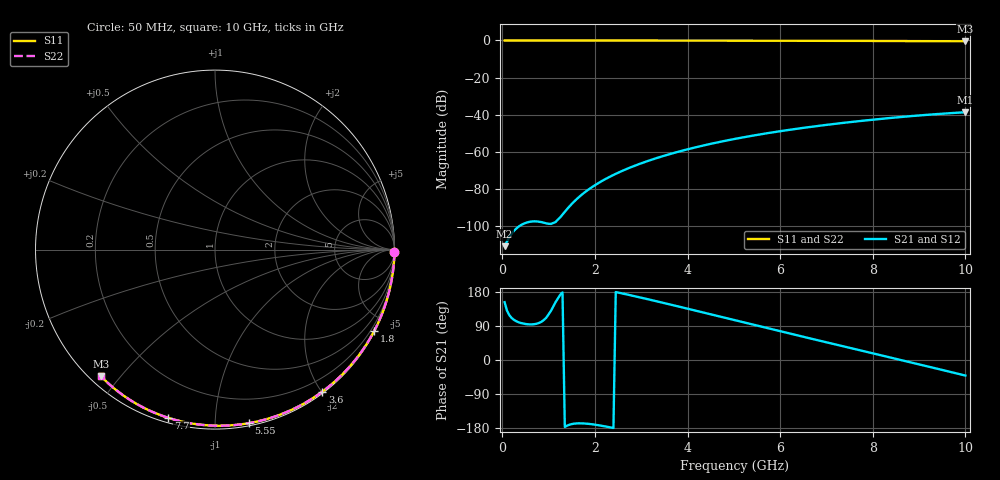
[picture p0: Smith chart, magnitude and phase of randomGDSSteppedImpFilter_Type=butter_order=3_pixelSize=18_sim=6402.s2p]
! freq	dB(S11)	phase(S11)	dB(S12)	phase(S12)
!  dB(S21)	phase(S21)	dB(S22)	phase(S22)
!S-par simulation data
#  GHz  S  DB  R 50
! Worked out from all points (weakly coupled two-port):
!   200 points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, 50 MHz to 10 GHz, reference 50 ohm
!   highest |S21| = -38.75 dB at 10 GHz (marker M1); lowest = -111.1 dB at 50 MHz (marker M2)
!   lowest |S11| = -0.4 dB at 10 GHz (marker M3), VSWR 38.77, Z = 1.55 - j22.3 ohm
!   |S11| at or under -10 dB: nowhere
!   |S22| runs from -0.4 to 0.0 dB; largest |S21 - S12| = 0
!   S11 on the Smith chart (normalised r, x): 50 MHz: open; 1.8 GHz: 0.04, -4.16; 3.6 GHz: 0.02, -2.01; 5.55 GHz: 0.02, -1.21; 7.7 GHz: 0.02, -0.76; 10 GHz: 0.03, -0.45
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0.05  -0.00 -0.8  -111.05 152.5  -111.05 152.5  -0.00 -0.8
0.45  -0.01 -6.9  -99.07 96.2  -99.07 96.2  -0.01 -6.9
0.9  -0.02 -13.6  -98.42 105.9  -98.42 105.9  -0.02 -13.6
1.75  -0.03 -26.3  -82.57 -167.4  -82.57 -167.4  -0.03 -26.3
1.8  -0.03 -27.0  -81.60 -167.8  -81.60 -167.8  -0.03 -27.0
1.9  -0.04 -28.5  -79.80 -169.0  -79.80 -169.0  -0.04 -28.5
2.05  -0.04 -30.7  -77.36 -171.6  -77.36 -171.6  -0.04 -30.7
2.25  -0.04 -33.6  -74.50 -175.9  -74.50 -175.9  -0.04 -33.6
2.45  -0.05 -36.5  -71.99 179.3  -71.99 179.3  -0.05 -36.5
2.65  -0.05 -39.4  -69.75 174.1  -69.75 174.1  -0.05 -39.4
3  -0.06 -44.4  -66.31 164.4  -66.31 164.4  -0.06 -44.4
3.4  -0.07 -50.1  -62.96 153.0  -62.96 153.0  -0.07 -50.1
3.6  -0.07 -52.9  -61.47 147.2  -61.47 147.2  -0.07 -52.9
4.3  -0.09 -62.5  -56.94 126.6  -56.94 126.6  -0.09 -62.5
5.05  -0.11 -72.5  -53.01 104.2  -53.01 104.2  -0.11 -72.5
5.55  -0.13 -79.0  -50.78 89.4  -50.78 89.4  -0.13 -79.0
6.1  -0.15 -86.0  -48.61 73.1  -48.61 73.1  -0.15 -86.0
6.7  -0.18 -93.4  -46.52 55.4  -46.52 55.4  -0.18 -93.4
7.7  -0.24 -105.5  -43.56 26.3  -43.56 26.3  -0.24 -105.5
8.35  -0.29 -113.1  -41.91 7.4  -41.91 7.4  -0.29 -113.1
9.15  -0.36 -122.3  -40.19 -15.9  -40.19 -15.9  -0.36 -122.3
10  -0.45 -132.0  -38.75 -41.1  -38.75 -41.1  -0.45 -132.0
